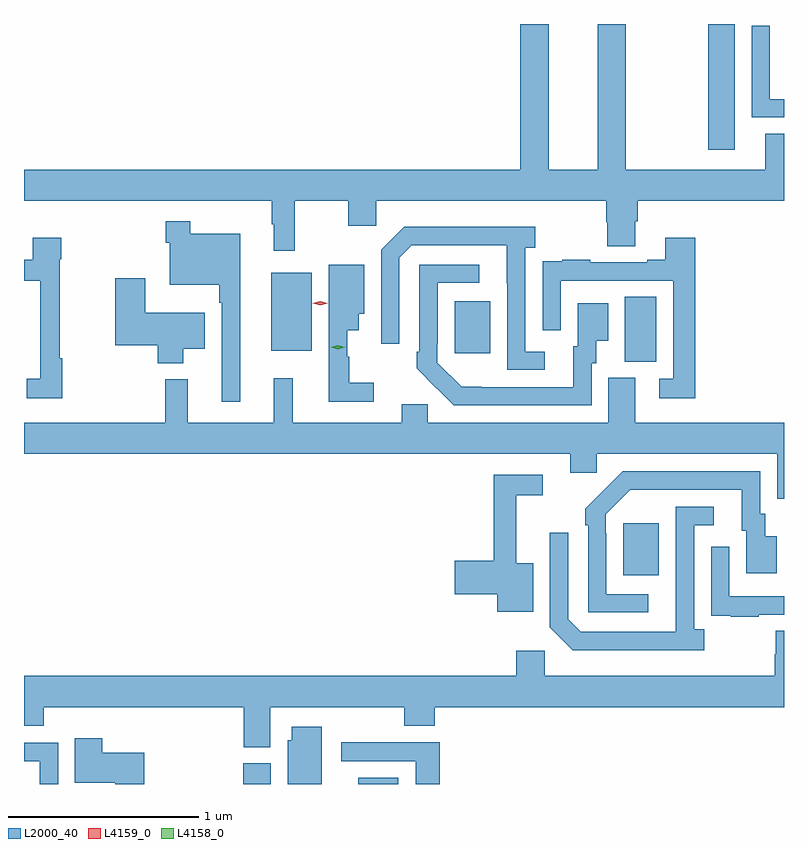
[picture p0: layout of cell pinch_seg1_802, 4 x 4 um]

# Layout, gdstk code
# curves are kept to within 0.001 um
import gdstk
lib = gdstk.Library(unit=1e-6, precision=1e-09)
def R(c, l, rs):  # rectangles x0, y0, x1, y1
    for r in rs: c.add(gdstk.rectangle(r[:2], r[2:], *l))
def P(c, l, *ps):  # polygons
    for p in ps: c.add(gdstk.Polygon(p, *l))
L2000_40 = (2000, 40)
L4158_0 = (4158, 0)
L4159_0 = (4159, 0)

pinch_seg1_802 = lib.new_cell('pinch_seg1_802')
R(pinch_seg1_802, L2000_40, [(422.87,559.319,423.016,559.428), (423.476,559.319,423.688,559.351), (424.871,560.417,425.059,560.692), (424.88,561.541,425.044,561.884), (423.983,561.585,424.171,561.859), (423.017,561.599,423.232,562.009), (425.317,562.656,425.458,563.319)])
P(pinch_seg1_802, L2000_40, [(424.736,562.552),(424.48,562.552),(424.48,563.319),(424.328,563.319),(424.328,562.552),(421.717,562.552),(421.717,562.388),(423.021,562.388),(423.021,562.265),(423.032,562.265),(423.032,562.125),(423.142,562.125),(423.142,562.388),(423.424,562.388),(423.424,562.257),(423.57,562.257),(423.57,562.388),(424.781,562.388),(424.781,562.275),(424.786,562.275),(424.786,562.15),(424.933,562.15),(424.933,562.282),(424.946,562.282),(424.946,562.388),(425.717,562.388),(425.717,562.742),(425.618,562.742),(425.618,562.552),(424.884,562.552),(424.884,563.319),(424.736,563.319)],
  [(425.717,562.923),(425.643,562.923),(425.643,563.311),(425.547,563.311),(425.547,562.827),(425.717,562.827)],
  [(422.854,562.216),(422.593,562.216),(422.593,562.282),(422.464,562.282),(422.464,562.169),(422.484,562.169),(422.484,561.947),(422.745,561.947),(422.745,561.851),(422.757,561.851),(422.757,561.33),(422.854,561.33)],
  [(424.459,561.594),(424.356,561.594),(424.356,562.142),(424.408,562.142),(424.408,562.252),(423.718,562.252),(423.597,562.131),(423.597,561.636),(423.693,561.636),(423.693,562.089),(423.759,562.155),(424.259,562.155),(424.26,561.498),(424.459,561.498)],
  [(421.919,561.56),(421.904,561.56),(421.904,562.082),(421.913,562.082),(421.913,562.195),(421.763,562.195),(421.763,562.078),(421.717,562.078),(421.717,561.969),(421.803,561.969),(421.803,561.453),(421.731,561.453),(421.731,561.348),(421.919,561.348)],
  [(425.249,562.195),(425.093,562.195),(425.093,562.078),(424.997,562.078),(424.997,562.065),(424.697,562.065),(424.697,562.078),(424.549,562.078),(424.549,562.071),(424.447,562.071),(424.447,561.962),(424.446,561.962),(424.446,561.708),(424.542,561.708),(424.542,561.969),(425.133,561.969),(425.133,561.453),(425.061,561.453),(425.061,561.348),(425.249,561.348)],
  [(424.704,561.534),(424.729,561.534),(424.729,561.653),(424.792,561.653),(424.792,561.85),(424.631,561.85),(424.631,561.624),(424.607,561.624),(424.607,561.408),(424.02,561.409),(423.891,561.537),(423.891,561.637),(423.894,561.637),(423.894,561.957),(424.114,561.957),(424.114,562.053),(423.798,562.053),(423.798,561.595),(423.783,561.595),(423.783,561.507),(423.98,561.312),(424.704,561.312)],
  [(423.559,561.431),(423.43,561.431),(423.43,561.567),(423.419,561.567),(423.419,561.707),(423.478,561.707),(423.478,561.794),(423.508,561.794),(423.508,562.051),(423.32,562.051),(423.32,561.811),(423.321,561.811),(423.321,561.33),(423.559,561.33)],
  [(422.554,561.611),(422.668,561.611),(422.668,561.799),(422.356,561.799),(422.356,561.982),(422.198,561.982),(422.198,561.629),(422.42,561.629),(422.42,561.533),(422.554,561.533)],
  [(425.717,561.22),(424.933,561.22),(424.933,561.456),(424.793,561.456),(424.793,561.22),(423.843,561.22),(423.843,561.318),(423.704,561.318),(423.704,561.22),(423.131,561.22),(423.131,561.454),(423.032,561.454),(423.032,561.22),(422.579,561.22),(422.579,561.448),(422.461,561.448),(422.461,561.22),(421.717,561.22),(421.717,561.056),(424.592,561.056),(424.592,560.958),(424.731,560.958),(424.731,561.056),(425.681,561.056),(425.681,560.821),(425.717,560.821)],
  [(425.002,560.319),(424.782,560.319),(424.782,560.639),(424.779,560.639),(424.779,560.739),(424.908,560.868),(425.495,560.868),(425.495,560.652),(425.519,560.652),(425.519,560.427),(425.68,560.427),(425.68,560.623),(425.617,560.623),(425.617,560.742),(425.592,560.742),(425.592,560.964),(424.868,560.964),(424.671,560.769),(424.671,560.681),(424.686,560.681),(424.686,560.223),(425.002,560.223)],
  [(424.396,560.482),(424.307,560.482),(424.307,560.838),(424.447,560.838),(424.447,560.946),(424.189,560.946),(424.189,560.495),(423.984,560.495),(423.984,560.317),(424.208,560.317),(424.208,560.225),(424.396,560.225)],
  [(425.296,560.134),(425.244,560.134),(425.244,560.682),(425.347,560.682),(425.347,560.778),(425.148,560.778),(425.147,560.121),(424.647,560.121),(424.581,560.187),(424.581,560.641),(424.485,560.641),(424.485,560.145),(424.606,560.024),(425.296,560.024)],
  [(425.585,560.211),(425.717,560.211),(425.717,560.307),(425.43,560.307),(425.43,560.569),(425.334,560.569),(425.334,560.314),(425.335,560.314),(425.335,560.205),(425.437,560.205),(425.437,560.199),(425.585,560.199)],
  [(423.013,559.724),(423.718,559.724),(423.718,559.625),(423.878,559.625),(423.878,559.724),(425.717,559.724),(425.717,560.126),(425.674,560.126),(425.674,560.001),(425.669,560.001),(425.669,559.888),(424.458,559.888),(424.458,560.02),(424.307,560.02),(424.307,559.888),(421.717,559.888),(421.717,559.625),(421.82,559.625),(421.82,559.724),(422.873,559.724),(422.873,559.513),(423.013,559.513)],
  [(423.283,559.621),(423.125,559.621),(423.125,559.548),(423.104,559.548),(423.104,559.319),(423.283,559.319)],
  [(422.351,559.483),(422.129,559.483),(422.129,559.561),(421.985,559.561),(421.985,559.325),(422.196,559.325),(422.196,559.319),(422.351,559.319)],
  [(423.905,559.538),(423.387,559.538),(423.387,559.44),(423.779,559.44),(423.779,559.319),(423.905,559.319)],
  [(421.896,559.536),(421.717,559.536),(421.717,559.44),(421.8,559.44),(421.8,559.319),(421.896,559.319)])
P(pinch_seg1_802, L4158_0, [(423.369,561.607),(423.334,561.618),(423.334,561.618),(423.334,561.618),(423.369,561.627),(423.404,561.617),(423.404,561.617),(423.404,561.617)])
P(pinch_seg1_802, L4159_0, [(423.277,561.839),(423.237,561.848),(423.237,561.848),(423.237,561.848),(423.276,561.859),(423.316,561.85),(423.316,561.849),(423.316,561.849)])

lib.write_gds('pinch_seg1_802.gds')
